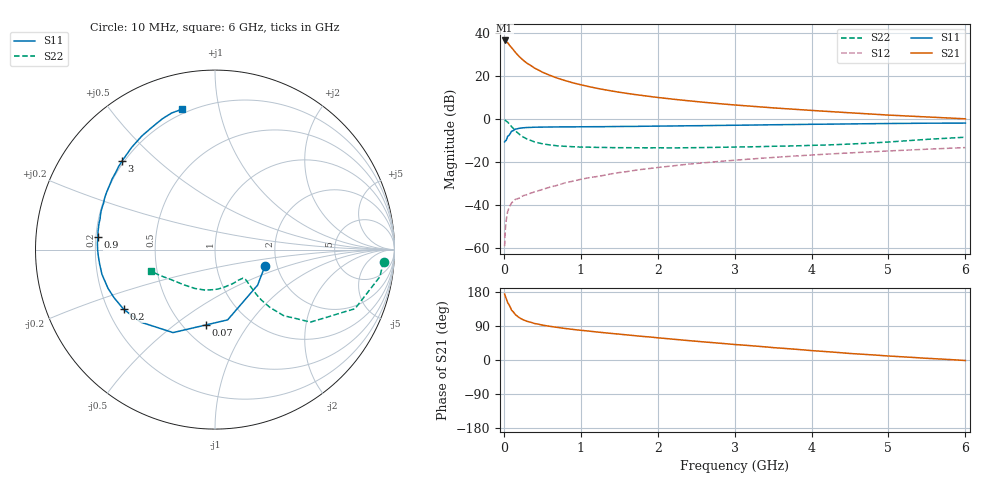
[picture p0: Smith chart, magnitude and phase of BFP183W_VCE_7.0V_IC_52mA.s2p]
! (c) 2017  Infineon Technologies AG, Munich
! Infineon Technologies  Discrete & RF Semiconductors
! BFP183W
! VCE =  7.0 V,  IC =  52 mA
! Common Emitter S-Parameters:  Jan 2017
# GHz  S  MA  R  50
!  f  S11  S21  S12  S22
! GHz  MAG  ANG  MAG  ANG  MAG  ANG  MAG  ANG
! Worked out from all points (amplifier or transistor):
!   77 points, 10 MHz to 6 GHz, reference 50 ohm
!   highest |S21| = 36.5 dB at 10 MHz (marker M1)
!   |S21| within 3 dB of that: start of sweep to 92.08 MHz
!   unconditionally stable (mu >= 1): 637.8 MHz to 3.351 GHz
!   at 130 MHz: K = 0.40, MSG = 35.0 dB, |S12| = -38.1 dB
!   at 2.2 GHz: K = 1.07, MAG = 13.8 dB, |S12| = -21.8 dB
!   at 6 GHz: K = 0.85, MSG = 6.7 dB, |S12| = -13.3 dB
!   S11 on the Smith chart (normalised r, x): 10 MHz: 1.72, -0.35; 70 MHz: 0.64, -0.66; 200 MHz: 0.26, -0.28; 900 MHz: 0.21, +0.05; 3 GHz: 0.19, +0.39; 6 GHz: 0.18, +0.78
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0.01  0.2929 -18.7  67.17 174.1  0.0011 85.1  0.9417 -4.1
0.02  0.3091 -39.8  66.05 167.6  0.0028 80.0  0.9305 -9.4
0.05  0.3978 -79.8  59.28 151.4  0.0071 70.1  0.8468 -22.9
0.07  0.423 -96.9  53.19 144.7  0.0087 65.1  0.7698 -27.8
0.1  0.5181 -116.8  45.86 131.6  0.0111 60.3  0.6679 -37.2
0.15  0.5788 -135.7  35.51 119.7  0.0135 51.2  0.5309 -43.9
0.2  0.6078 -146.8  28.36 111.8  0.0144 50.9  0.4433 -46.5
0.25  0.6234 -154.7  23.47 106.2  0.0164 51.0  0.3831 -47.4
0.3  0.634 -160.1  19.9 102.2  0.0174 51.5  0.3425 -47.3
0.4  0.6448 -167.7  15.28 96.3  0.0202 55.1  0.2925 -46.3
0.5  0.6478 -172.9  12.31 92.2  0.0229 58.2  0.2654 -45.3
0.6  0.6513 -176.9  10.34 88.8  0.026 59.8  0.2485 -44.7
0.7  0.6542 179.7  8.878 85.9  0.0288 62.7  0.2372 -44.3
0.9  0.6558 174.0  6.924 80.7  0.0358 64.7  0.2263 -45.3
1.1  0.6605 169.4  5.699 76.4  0.0428 66.8  0.2212 -47.0
1.5  0.6695 161.5  4.196 68.2  0.0568 67.0  0.2148 -52.9
2.1  0.6854 150.3  3.029 56.8  0.0778 65.6  0.2133 -66.0
3  0.7156 136.3  2.12 40.9  0.1098 61.0  0.2226 -90.3
3.1  0.7185 134.9  2.056 39.5  0.1133 60.4  0.2235 -93.0
4.1  0.7554 121.5  1.543 23.4  0.1487 54.2  0.246 -120.2
5.1  0.7876 111.1  1.209 9.4  0.184 47.3  0.2999 -146.6
6  0.8034 103.2  1.009 -1.3  0.2162 40.8  0.3768 -161.4
